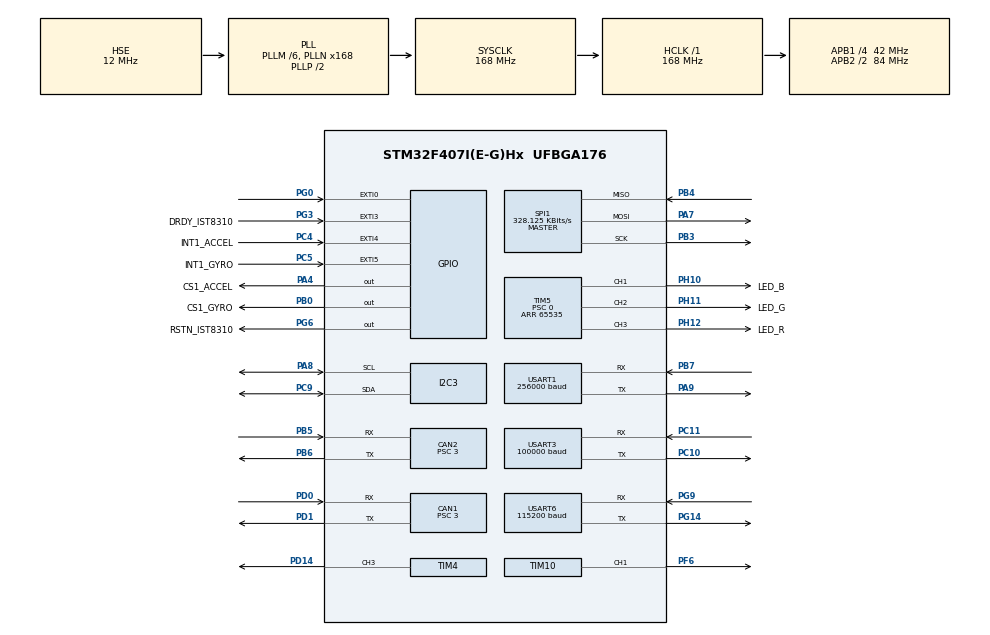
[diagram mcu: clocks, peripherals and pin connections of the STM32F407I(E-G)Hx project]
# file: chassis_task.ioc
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CAN1.BS1=CAN_BS1_10TQ
CAN1.BS2=CAN_BS2_3TQ
CAN1.CalculateBaudRate=1000000
CAN1.CalculateTimeQuantum=71.42857142857143
CAN1.Prescaler=3
CAN2.BS1=CAN_BS1_10TQ
CAN2.BS2=CAN_BS2_3TQ
CAN2.CalculateBaudRate=1000000
CAN2.CalculateTimeQuantum=71.42857142857143
CAN2.Prescaler=3
Dma.Request0=SPI1_RX
Dma.Request1=SPI1_TX
Dma.Request2=USART3_RX
Dma.Request3=USART6_RX
Dma.Request4=USART6_TX
Dma.Request5=USART1_TX
Dma.SPI1_RX.0.Direction=DMA_PERIPH_TO_MEMORY
Dma.SPI1_RX.0.FIFOMode=DMA_FIFOMODE_ENABLE
Dma.SPI1_RX.0.FIFOThreshold=DMA_FIFO_THRESHOLD_FULL
Dma.SPI1_RX.0.Instance=DMA2_Stream2
Dma.SPI1_RX.0.MemBurst=DMA_MBURST_SINGLE
Dma.SPI1_RX.0.MemDataAlignment=DMA_MDATAALIGN_BYTE
Dma.SPI1_RX.0.MemInc=DMA_MINC_ENABLE
Dma.SPI1_RX.0.Mode=DMA_NORMAL
Dma.SPI1_RX.0.PeriphBurst=DMA_PBURST_SINGLE
Dma.SPI1_RX.0.PeriphDataAlignment=DMA_PDATAALIGN_BYTE
Dma.SPI1_RX.0.PeriphInc=DMA_PINC_DISABLE
Dma.SPI1_RX.0.Priority=DMA_PRIORITY_HIGH
Dma.SPI1_TX.1.Direction=DMA_MEMORY_TO_PERIPH
Dma.SPI1_TX.1.FIFOMode=DMA_FIFOMODE_ENABLE
Dma.SPI1_TX.1.FIFOThreshold=DMA_FIFO_THRESHOLD_FULL
Dma.SPI1_TX.1.Instance=DMA2_Stream3
Dma.SPI1_TX.1.MemBurst=DMA_MBURST_SINGLE
Dma.SPI1_TX.1.MemDataAlignment=DMA_MDATAALIGN_BYTE
Dma.SPI1_TX.1.MemInc=DMA_MINC_ENABLE
Dma.SPI1_TX.1.Mode=DMA_NORMAL
Dma.SPI1_TX.1.PeriphBurst=DMA_PBURST_SINGLE
Dma.SPI1_TX.1.PeriphDataAlignment=DMA_PDATAALIGN_BYTE
Dma.SPI1_TX.1.PeriphInc=DMA_PINC_DISABLE
Dma.SPI1_TX.1.Priority=DMA_PRIORITY_MEDIUM
Dma.USART1_TX.5.Direction=DMA_MEMORY_TO_PERIPH
Dma.USART1_TX.5.FIFOMode=DMA_FIFOMODE_ENABLE
Dma.USART1_TX.5.FIFOThreshold=DMA_FIFO_THRESHOLD_FULL
Dma.USART1_TX.5.Instance=DMA2_Stream7
Dma.USART1_TX.5.MemBurst=DMA_MBURST_SINGLE
Dma.USART1_TX.5.MemDataAlignment=DMA_MDATAALIGN_BYTE
Dma.USART1_TX.5.MemInc=DMA_MINC_ENABLE
Dma.USART1_TX.5.Mode=DMA_NORMAL
Dma.USART1_TX.5.PeriphBurst=DMA_PBURST_SINGLE
Dma.USART1_TX.5.PeriphDataAlignment=DMA_PDATAALIGN_BYTE
Dma.USART1_TX.5.PeriphInc=DMA_PINC_DISABLE
Dma.USART1_TX.5.Priority=DMA_PRIORITY_MEDIUM
Dma.USART3_RX.2.Direction=DMA_PERIPH_TO_MEMORY
Dma.USART3_RX.2.FIFOMode=DMA_FIFOMODE_DISABLE
Dma.USART3_RX.2.Instance=DMA1_Stream1
Dma.USART3_RX.2.MemDataAlignment=DMA_MDATAALIGN_BYTE
Dma.USART3_RX.2.MemInc=DMA_MINC_ENABLE
Dma.USART3_RX.2.Mode=DMA_NORMAL
Dma.USART3_RX.2.PeriphDataAlignment=DMA_PDATAALIGN_BYTE
Dma.USART3_RX.2.PeriphInc=DMA_PINC_DISABLE
Dma.USART3_RX.2.Priority=DMA_PRIORITY_HIGH
Dma.USART6_RX.3.Direction=DMA_PERIPH_TO_MEMORY
Dma.USART6_RX.3.FIFOMode=DMA_FIFOMODE_ENABLE
Dma.USART6_RX.3.FIFOThreshold=DMA_FIFO_THRESHOLD_FULL
Dma.USART6_RX.3.Instance=DMA2_Stream1
Dma.USART6_RX.3.MemBurst=DMA_MBURST_SINGLE
Dma.USART6_RX.3.MemDataAlignment=DMA_MDATAALIGN_BYTE
Dma.USART6_RX.3.MemInc=DMA_MINC_ENABLE
Dma.USART6_RX.3.Mode=DMA_NORMAL
Dma.USART6_RX.3.PeriphBurst=DMA_PBURST_SINGLE
Dma.USART6_RX.3.PeriphDataAlignment=DMA_PDATAALIGN_BYTE
Dma.USART6_RX.3.PeriphInc=DMA_PINC_DISABLE
Dma.USART6_RX.3.Priority=DMA_PRIORITY_VERY_HIGH
Dma.USART6_TX.4.Direction=DMA_MEMORY_TO_PERIPH
Dma.USART6_TX.4.FIFOMode=DMA_FIFOMODE_ENABLE
Dma.USART6_TX.4.FIFOThreshold=DMA_FIFO_THRESHOLD_FULL
Dma.USART6_TX.4.Instance=DMA2_Stream6
Dma.USART6_TX.4.MemBurst=DMA_MBURST_SINGLE
Dma.USART6_TX.4.MemDataAlignment=DMA_MDATAALIGN_BYTE
Dma.USART6_TX.4.MemInc=DMA_MINC_ENABLE
Dma.USART6_TX.4.Mode=DMA_NORMAL
Dma.USART6_TX.4.PeriphBurst=DMA_PBURST_SINGLE
Dma.USART6_TX.4.PeriphDataAlignment=DMA_PDATAALIGN_BYTE
Dma.USART6_TX.4.PeriphInc=DMA_PINC_DISABLE
Dma.USART6_TX.4.Priority=DMA_PRIORITY_LOW
FREERTOS.INCLUDE_eTaskGetState=1
FREERTOS.INCLUDE_pcTaskGetTaskName=1
FREERTOS.INCLUDE_uxTaskGetStackHighWaterMark=1
FREERTOS.INCLUDE_vTaskCleanUpResources=1
FREERTOS.INCLUDE_vTaskDelayUntil=1
FREERTOS.INCLUDE_xEventGroupSetBitFromISR=1
FREERTOS.INCLUDE_xQueueGetMutexHolder=1
FREERTOS.INCLUDE_xSemaphoreGetMutexHolder=1
FREERTOS.INCLUDE_xTaskAbortDelay=1
FREERTOS.INCLUDE_xTaskGetCurrentTaskHandle=1
FREERTOS.INCLUDE_xTaskGetHandle=1
FREERTOS.INCLUDE_xTimerPendFunctionCall=1
FREERTOS.Tasks01=test,24,128,test_task,As weak,NULL,Dynamic,NULL,NULL
FREERTOS.configTOTAL_HEAP_SIZE=24576
I2C3.I2C_Mode=I2C_Fast
Mcu.Family=STM32F4
Mcu.Name=STM32F407I(E-G)Hx
Mcu.Package=UFBGA176
NVIC.CAN1_RX0_IRQn=true\:6\:0\:true\:false\:true\:true\:true\:true\:true
NVIC.CAN2_RX0_IRQn=true\:6\:0\:true\:false\:true\:true\:true\:true\:true
NVIC.DMA1_Stream1_IRQn=true\:5\:0\:true\:false\:false\:true\:false\:false\:true
NVIC.DMA2_Stream1_IRQn=true\:5\:0\:false\:false\:true\:true\:false\:true\:true
NVIC.DMA2_Stream2_IRQn=true\:5\:0\:true\:false\:false\:true\:false\:true\:true
NVIC.DMA2_Stream3_IRQn=true\:5\:0\:true\:false\:false\:true\:false\:true\:true
NVIC.DMA2_Stream6_IRQn=true\:7\:0\:true\:false\:true\:true\:false\:true\:true
NVIC.DMA2_Stream7_IRQn=true\:5\:0\:false\:false\:true\:true\:false\:true\:true
NVIC.EXTI0_IRQn=true\:6\:0\:true\:false\:true\:true\:true\:true\:true
NVIC.EXTI3_IRQn=true\:5\:0\:true\:false\:true\:true\:true\:true\:true
NVIC.EXTI4_IRQn=true\:5\:0\:true\:false\:true\:true\:true\:true\:true
NVIC.EXTI9_5_IRQn=true\:5\:0\:true\:false\:true\:true\:true\:true\:true
NVIC.PriorityGroup=NVIC_PRIORITYGROUP_4
NVIC.USART1_IRQn=true\:5\:0\:false\:false\:true\:true\:true\:true\:true
NVIC.USART3_IRQn=true\:4\:0\:true\:false\:false\:false\:true\:true\:true
NVIC.USART6_IRQn=true\:5\:0\:false\:false\:true\:true\:true\:true\:true
PA13.Mode=Serial_Wire
PA13.Signal=SYS_JTMS-SWDIO
PA14.Mode=Serial_Wire
PA14.Signal=SYS_JTCK-SWCLK
PA4.GPIO_Label=CS1_ACCEL
PA4.GPIO_PuPd=GPIO_PULLUP
PA4.GPIO_Speed=GPIO_SPEED_FREQ_HIGH
PA4.PinState=GPIO_PIN_SET
PA4.Signal=GPIO_Output
PA7.GPIO_PuPd=GPIO_PULLUP
PA7.Mode=Full_Duplex_Master
PA7.Signal=SPI1_MOSI
PA8.GPIO_Pu=GPIO_PULLUP
PA8.Mode=I2C
PA8.Signal=I2C3_SCL
PA9.Mode=Asynchronous
PA9.Signal=USART1_TX
PB0.GPIO_Label=CS1_GYRO
PB0.GPIO_PuPd=GPIO_PULLUP
PB0.GPIO_Speed=GPIO_SPEED_FREQ_HIGH
PB0.PinState=GPIO_PIN_SET
PB0.Signal=GPIO_Output
PB3.GPIO_PuPd=GPIO_PULLUP
PB3.Mode=Full_Duplex_Master
PB3.Signal=SPI1_SCK
PB4.GPIO_PuPd=GPIO_PULLUP
PB4.Mode=Full_Duplex_Master
PB4.Signal=SPI1_MISO
PB5.Mode=CAN_Activate
PB5.Signal=CAN2_RX
PB6.Mode=CAN_Activate
PB6.Signal=CAN2_TX
PB7.Mode=Asynchronous
PB7.Signal=USART1_RX
PC10.Mode=Asynchronous
PC10.Signal=USART3_TX
PC11.Mode=Asynchronous
PC11.Signal=USART3_RX
PC4.GPIO_Label=INT1_ACCEL
PC4.GPIO_ModeDefaultEXTI=GPIO_MODE_IT_FALLING
PC4.GPIO_PuPd=GPIO_PULLUP
PC4.Signal=GPXTI4
PC5.GPIO_Label=INT1_GYRO
PC5.GPIO_ModeDefaultEXTI=GPIO_MODE_IT_FALLING
PC5.GPIO_PuPd=GPIO_PULLUP
PC5.Signal=GPXTI5
PC8.GPIO_PuPd=GPIO_PULLUP
PC8.GPIO_Speed=GPIO_SPEED_FREQ_HIGH
PC8.Signal=S_TIM3_CH3
PC9.GPIO_Pu=GPIO_PULLUP
PC9.Mode=I2C
PC9.Signal=I2C3_SDA
PD0.Mode=CAN_Activate
PD0.Signal=CAN1_RX
PD1.Mode=CAN_Activate
PD1.Signal=CAN1_TX
PD14.GPIO_PuPd=GPIO_PULLUP
PD14.GPIO_Speed=GPIO_SPEED_FREQ_HIGH
PD14.Signal=S_TIM4_CH3
PF6.GPIO_PuPd=GPIO_PULLUP
PF6.GPIO_Speed=GPIO_SPEED_FREQ_HIGH
PF6.Signal=S_TIM10_CH1
PG0.GPIO_ModeDefaultEXTI=GPIO_MODE_IT_FALLING
PG0.GPIO_PuPd=GPIO_PULLUP
PG0.Signal=GPXTI0
PG14.Mode=Asynchronous
PG14.Signal=USART6_TX
PG3.GPIO_Label=DRDY_IST8310
PG3.GPIO_ModeDefaultEXTI=GPIO_MODE_IT_FALLING
PG3.GPIO_PuPd=GPIO_PULLUP
PG3.Signal=GPXTI3
PG6.GPIO_Label=RSTN_IST8310
PG6.GPIO_PuPd=GPIO_PULLUP
PG6.GPIO_Speed=GPIO_SPEED_FREQ_MEDIUM
PG6.PinState=GPIO_PIN_SET
PG6.Signal=GPIO_Output
PG9.Mode=Asynchronous
PG9.Signal=USART6_RX
PH0-OSC_IN.Mode=HSE-External-Oscillator
PH0-OSC_IN.Signal=RCC_OSC_IN
PH1-OSC_OUT.Mode=HSE-External-Oscillator
PH1-OSC_OUT.Signal=RCC_OSC_OUT
PH10.GPIO_Label=LED_B
PH10.GPIO_PuPd=GPIO_PULLUP
PH10.GPIO_Speed=GPIO_SPEED_FREQ_HIGH
PH10.Signal=S_TIM5_CH1
PH11.GPIO_Label=LED_G
PH11.GPIO_PuPd=GPIO_PULLUP
PH11.GPIO_Speed=GPIO_SPEED_FREQ_HIGH
PH11.Signal=S_TIM5_CH2
PH12.GPIO_Label=LED_R
PH12.GPIO_PuPd=GPIO_PULLUP
PH12.GPIO_Speed=GPIO_SPEED_FREQ_HIGH
PH12.Signal=S_TIM5_CH3
ProjectManager.HeapSize=0x2000
ProjectManager.StackSize=0x2000
ProjectManager.TargetToolchain=MDK-ARM V5
RCC.48MHZClocksFreq_Value=48000000
RCC.AHBFreq_Value=168000000
RCC.APB1CLKDivider=RCC_HCLK_DIV4
RCC.APB1Freq_Value=42000000
RCC.APB1TimFreq_Value=84000000
RCC.APB2CLKDivider=RCC_HCLK_DIV2
RCC.APB2Freq_Value=84000000
RCC.APB2TimFreq_Value=168000000
RCC.CortexFreq_Value=168000000
RCC.HCLKFreq_Value=168000000
RCC.HSE_VALUE=12000000
RCC.HSI_VALUE=16000000
RCC.LSE_VALUE=32768
RCC.PLLM=6
RCC.PLLN=168
RCC.PLLQ=7
RCC.PLLSourceVirtual=RCC_PLLSOURCE_HSE
RCC.RCC_RTC_Clock_SourceVirtual=RCC_RTCCLKSOURCE_HSE_DIV30
RCC.RCC_RTC_Clock_Source_FROM_HSE=RCC_RTCCLKSOURCE_HSE_DIV30
RCC.SYSCLKFreq_VALUE=168000000
RCC.SYSCLKSource=RCC_SYSCLKSOURCE_PLLCLK
RCC.VCOOutputFreq_Value=336000000
RTC.AsynchPrediv=124
RTC.SynchPrediv=3199
SH.S_TIM10_CH1.0=TIM10_CH1,PWM Generation1 CH1
SH.S_TIM3_CH3.0=TIM3_CH3
SH.S_TIM4_CH3.0=TIM4_CH3,PWM Generation3 CH3
SH.S_TIM5_CH1.0=TIM5_CH1,PWM Generation1 CH1
SH.S_TIM5_CH2.0=TIM5_CH2,PWM Generation2 CH2
SH.S_TIM5_CH3.0=TIM5_CH3,PWM Generation3 CH3
SPI1.BaudRatePrescaler=SPI_BAUDRATEPRESCALER_256
SPI1.CLKPhase=SPI_PHASE_2EDGE
SPI1.CLKPolarity=SPI_POLARITY_HIGH
SPI1.CalculateBaudRate=328.125 KBits/s
SPI1.Direction=SPI_DIRECTION_2LINES
SPI1.Mode=SPI_MODE_MASTER
SPI1.VirtualType=VM_MASTER
TIM10.Channel=TIM_CHANNEL_1
TIM10.Period=4999
TIM4.Channel-PWM\ Generation3\ CH3=TIM_CHANNEL_3
TIM4.Period=65535
TIM4.Prescaler=167
TIM5.Channel-PWM\ Generation1\ CH1=TIM_CHANNEL_1
TIM5.Channel-PWM\ Generation2\ CH2=TIM_CHANNEL_2
TIM5.Channel-PWM\ Generation3\ CH3=TIM_CHANNEL_3
TIM5.Period=65535
TIM5.Prescaler=0
USART1.BaudRate=256000
USART1.VirtualMode=VM_ASYNC
USART3.BaudRate=100000
USART3.Parity=PARITY_EVEN
USART3.VirtualMode=VM_ASYNC
USART6.BaudRate=115200
USART6.VirtualMode=VM_ASYNC
VP_FREERTOS_VS_CMSIS_V1.Mode=CMSIS_V1
VP_RTC_VS_RTC_Activate.Mode=RTC_Enabled
VP_TIM10_VS_ClockSourceINT.Mode=Enable_Timer
VP_TIM4_VS_ClockSourceINT.Mode=Internal
VP_TIM5_VS_ClockSourceINT.Mode=Internal
board=custom

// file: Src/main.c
/* USER CODE BEGIN Header */
/**
  ******************************************************************************
  * @file           : main.c
  * @brief          : Main program body
  ******************************************************************************
  * @attention
  *
  * <h2><center>&copy; Copyright (c) 2019 STMicroelectronics.
  * All rights reserved.</center></h2>
  *
  * This software component is licensed by ST under Ultimate Liberty license
  * SLA0044, the "License"; You may not use this file except in compliance with
  * the License. You may obtain a copy of the License at:
  *                             www.st.com/SLA0044
  *
  ******************************************************************************
  */
/* USER CODE END Header */
#include "main.h"
#include "cmsis_os.h"
#include "can.h"
#include "dma.h"
#include "i2c.h"
#include "rtc.h"
#include "spi.h"
#include "tim.h"
#include "usart.h"
#include "gpio.h"

/* USER CODE BEGIN Includes */
#include "bsp_can.h"
#include "bsp_delay.h"
#include "remote_control.h"

#include "calibrate_task.h"
#include "chassis_task.h"
#include "detect_task.h"
#include "INS_task.h"
#include "led_flow_task.h"
/* USER CODE END Includes */

void SystemClock_Config(void);
void MX_FREERTOS_Init(void);

int main(void)
{

  /* MCU Configuration--------------------------------------------------------*/

  /* Reset of all peripherals, Initializes the Flash interfa ce and the Systick. */
  HAL_Init();

  /* Configure the system clock */
  SystemClock_Config();

  /* Initialize all configured peripherals */
  MX_GPIO_Init();
  MX_DMA_Init();
  MX_CAN1_Init();
  MX_CAN2_Init();
  MX_SPI1_Init();
  MX_TIM4_Init();
  MX_TIM5_Init();
  MX_USART3_UART_Init();
  MX_I2C3_Init();
  MX_RTC_Init();
  MX_TIM10_Init();
  MX_USART6_UART_Init();
  MX_USART1_UART_Init();
  /* USER CODE BEGIN 2 */
    can_filter_init();
    delay_init();
//    cali_param_init();
    remote_control_init();
  /* USER CODE END 2 */

  /* Call init function for freertos objects (in freertos.c) */
  MX_FREERTOS_Init();
  /* Start scheduler */
  osKernelStart();

  /* We should never get here as control is now taken by the scheduler */
  /* Infinite loop */
  while (1)
  {

  }
}

void SystemClock_Config(void)
{
  RCC_OscInitTypeDef RCC_OscInitStruct = {0};
  RCC_ClkInitTypeDef RCC_ClkInitStruct = {0};

  /** Configure the main internal regulator output voltage
  */
  __HAL_RCC_PWR_CLK_ENABLE();
  __HAL_PWR_VOLTAGESCALING_CONFIG(PWR_REGULATOR_VOLTAGE_SCALE1);
  /** Initializes the RCC Oscillators according to the specified parameters
  * in the RCC_OscInitTypeDef structure.
  */
  RCC_OscInitStruct.OscillatorType = RCC_OSCILLATORTYPE_HSE;
  RCC_OscInitStruct.HSEState = RCC_HSE_ON;
  RCC_OscInitStruct.PLL.PLLState = RCC_PLL_ON;
  RCC_OscInitStruct.PLL.PLLSource = RCC_PLLSOURCE_HSE;
  RCC_OscInitStruct.PLL.PLLM = 6;
  RCC_OscInitStruct.PLL.PLLN = 168;
  RCC_OscInitStruct.PLL.PLLP = RCC_PLLP_DIV2;
  RCC_OscInitStruct.PLL.PLLQ = 7;
  if (HAL_RCC_OscConfig(&RCC_OscInitStruct) != HAL_OK)
  {
    Error_Handler();
  }
  /** Initializes the CPU, AHB and APB buses clocks
  */
  RCC_ClkInitStruct.ClockType = RCC_CLOCKTYPE_HCLK|RCC_CLOCKTYPE_SYSCLK
                              |RCC_CLOCKTYPE_PCLK1|RCC_CLOCKTYPE_PCLK2;
  RCC_ClkInitStruct.SYSCLKSource = RCC_SYSCLKSOURCE_PLLCLK;
  RCC_ClkInitStruct.AHBCLKDivider = RCC_SYSCLK_DIV1;
  RCC_ClkInitStruct.APB1CLKDivider = RCC_HCLK_DIV4;
  RCC_ClkInitStruct.APB2CLKDivider = RCC_HCLK_DIV2;

  if (HAL_RCC_ClockConfig(&RCC_ClkInitStruct, FLASH_LATENCY_5) != HAL_OK)
  {
    Error_Handler();
  }
}

void Error_Handler(void)
{
}

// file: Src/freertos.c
/* USER CODE BEGIN Header */
/**
  ******************************************************************************
  * File Name          : freertos.c
  * Description        : Code for freertos applications
  ******************************************************************************
  * @attention
  *
  * <h2><center>&copy; Copyright (c) 2019 STMicroelectronics.
  * All rights reserved.</center></h2>
  *
  * This software component is licensed by ST under Ultimate Liberty license
  * SLA0044, the "License"; You may not use this file except in compliance with
  * the License. You may obtain a copy of the License at:
  *                             www.st.com/SLA0044
  *
  ******************************************************************************
  */
/* USER CODE END Header */

#include "FreeRTOS.h"
#include "task.h"
#include "main.h"
#include "cmsis_os.h"

/* USER CODE BEGIN Includes */

#include "calibrate_task.h"
#include "chassis_task.h"
#include "detect_task.h"
#include "INS_task.h"
#include "led_flow_task.h"
#include "com_task.h"

/* USER CODE END Includes */

/* USER CODE BEGIN PTD */

osThreadId calibrate_tast_handle;
osThreadId chassisTaskHandle;
osThreadId detect_handle;
osThreadId imuTaskHandle;
osThreadId led_RGB_flow_handle;

/* USER CODE END PTD */

osThreadId testHandle;

void test_task(void const * argument);

void MX_FREERTOS_Init(void); /* (MISRA C 2004 rule 8.1) */

/* GetIdleTaskMemory prototype (linked to static allocation support) */
void vApplicationGetIdleTaskMemory( StaticTask_t **ppxIdleTaskTCBBuffer, StackType_t **ppxIdleTaskStackBuffer, uint32_t *pulIdleTaskStackSize );

/* GetTimerTaskMemory prototype (linked to static allocation support) */
void vApplicationGetTimerTaskMemory( StaticTask_t **ppxTimerTaskTCBBuffer, StackType_t **ppxTimerTaskStackBuffer, uint32_t *pulTimerTaskStackSize );

/* USER CODE BEGIN GET_IDLE_TASK_MEMORY */
static StaticTask_t xIdleTaskTCBBuffer;
static StackType_t xIdleStack[configMINIMAL_STACK_SIZE];

void vApplicationGetIdleTaskMemory( StaticTask_t **ppxIdleTaskTCBBuffer, StackType_t **ppxIdleTaskStackBuffer, uint32_t *pulIdleTaskStackSize )
{
  *ppxIdleTaskTCBBuffer = &xIdleTaskTCBBuffer;
  *ppxIdleTaskStackBuffer = &xIdleStack[0];
  *pulIdleTaskStackSize = configMINIMAL_STACK_SIZE;
  /* place for user code */
}
/* USER CODE END GET_IDLE_TASK_MEMORY */

/* USER CODE BEGIN GET_TIMER_TASK_MEMORY */
static StaticTask_t xTimerTaskTCBBuffer;
static StackType_t xTimerStack[configTIMER_TASK_STACK_DEPTH];

void vApplicationGetTimerTaskMemory( StaticTask_t **ppxTimerTaskTCBBuffer, StackType_t **ppxTimerTaskStackBuffer, uint32_t *pulTimerTaskStackSize )
{
  *ppxTimerTaskTCBBuffer = &xTimerTaskTCBBuffer;
  *ppxTimerTaskStackBuffer = &xTimerStack[0];
  *pulTimerTaskStackSize = configTIMER_TASK_STACK_DEPTH;
  /* place for user code */
}
/* USER CODE END GET_TIMER_TASK_MEMORY */

void MX_FREERTOS_Init(void) {

  /* Create the thread(s) */
  /* definition and creation of test */
  osThreadDef(test, test_task, osPriorityNormal, 0, 128);
  testHandle = osThreadCreate(osThread(test), NULL);

  /* USER CODE BEGIN RTOS_THREADS */
  /* add threads, ... */
//    osThreadDef(cali, calibrate_task, osPriorityNormal, 0, 512);
//    calibrate_tast_handle = osThreadCreate(osThread(cali), NULL);

    osThreadDef(ChassisTask, chassis_task, osPriorityHigh, 0, 512);
    chassisTaskHandle = osThreadCreate(osThread(ChassisTask), NULL);

//    osThreadDef(DETECT, detect_task, osPriorityNormal, 0, 256);
//    detect_handle = osThreadCreate(osThread(DETECT), NULL);

    osThreadDef(imuTask, INS_task, osPriorityRealtime, 0, 1024);
    imuTaskHandle = osThreadCreate(osThread(imuTask), NULL);

    osThreadDef(led, led_RGB_flow_task, osPriorityLow, 0, 256);
    led_RGB_flow_handle = osThreadCreate(osThread(led), NULL);

//    osThreadDef(com, com_task, osPriorityAboveNormal, 0, 256);
//    led_RGB_flow_handle = osThreadCreate(osThread(com), NULL);

  /* USER CODE END RTOS_THREADS */

}

__weak void test_task(void const * argument)
{
  for(;;)
  {
    osDelay(1);
  }
}
